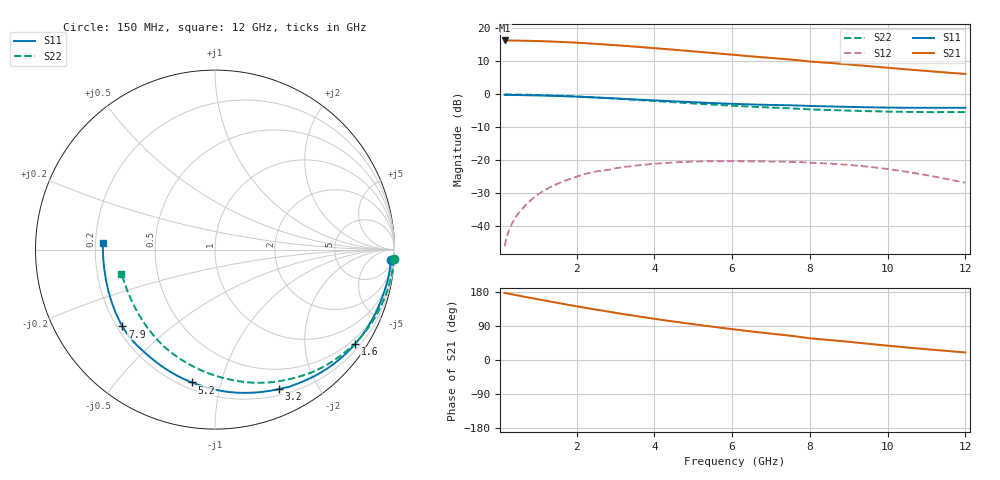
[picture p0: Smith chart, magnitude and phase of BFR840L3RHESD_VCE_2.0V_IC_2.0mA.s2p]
! Infineon Technologies  Discrete & RF Semiconductors
! BFR840L3RHESD
! VCE =  2.0 V,  IC =  2.0 mA
! Common Emitter S-Parameters:  Jun 2012
# GHz  S  MA  R  50
!  f  S11  S21  S12  S22
! GHz  MAG  ANG  MAG  ANG  MAG  ANG  MAG  ANG
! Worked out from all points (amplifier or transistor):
!   91 points, 150 MHz to 12 GHz, reference 50 ohm
!   highest |S21| = 16.3 dB at 150 MHz (marker M1)
!   |S21| within 3 dB of that: start of sweep to 4.685 GHz
!   unconditionally stable (mu >= 1): 10.1 GHz to end of sweep
!   at 1.3 GHz: K = 0.07, MSG = 22.2 dB, |S12| = -28.3 dB
!   at 4.3 GHz: K = 0.20, MSG = 17.3 dB, |S12| = -20.8 dB
!   at 12 GHz: K = 2.08, MAG = 10.6 dB, |S12| = -26.8 dB
!   S11 on the Smith chart (normalised r, x): 150 MHz: 10, -31; 1.6 GHz: 0.35, -3.24; 3.2 GHz: 0.26, -1.52; 5.2 GHz: 0.24, -0.81; 7.9 GHz: 0.22, -0.35; 12 GHz: 0.23, +0.03
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0.15  0.9812 -3.4  6.558 176.9  0.005 83.5  0.9975 -2.9
0.3  0.9806 -6.6  6.543 174.1  0.0098 83.5  0.9958 -5.9
0.6  0.9728 -13.1  6.505 168.1  0.0183 77.7  0.9897 -11.4
1.1  0.9591 -23.6  6.395 158.5  0.033 69.9  0.9736 -20.6
1.6  0.9413 -34.0  6.228 149.1  0.0463 63.0  0.9513 -29.7
2  0.9223 -42.3  6.064 141.7  0.0565 56.7  0.9282 -36.8
2.2  0.9119 -46.4  5.971 138.2  0.0615 53.5  0.9155 -40.2
2.6  0.8896 -54.1  5.763 131.3  0.069 47.4  0.8898 -47.0
3  0.8683 -61.8  5.571 124.5  0.0758 42.2  0.8625 -53.5
3.2  0.8544 -65.5  5.451 121.3  0.0787 39.1  0.8474 -56.8
3.7  0.8263 -74.6  5.178 113.3  0.0853 32.6  0.8129 -64.6
4.2  0.8005 -83.3  4.903 105.8  0.0904 26.4  0.7796 -72.1
4.7  0.7749 -91.7  4.635 98.7  0.0941 20.4  0.7469 -79.4
5.2  0.7511 -99.9  4.38 91.8  0.0962 14.5  0.7163 -86.4
6.1  0.716 -113.8  3.945 80.2  0.0969 5.1  0.669 -98.7
6.8  0.6952 -123.8  3.638 71.8  0.0962 -1.2  0.6387 -107.8
7.5  0.682 -133.6  3.369 64.0  0.0949 -7.3  0.6133 -116.6
7.9  0.6704 -140.3  3.191 58.7  0.0929 -11.9  0.5965 -122.6
8.5  0.656 -147.5  2.995 52.8  0.0893 -17.1  0.5793 -129.2
9.5  0.6369 -159.0  2.682 42.9  0.08 -26.2  0.5567 -140.2
10.5  0.6264 -169.9  2.389 33.0  0.0669 -34.6  0.5422 -151.1
12  0.6264 176.8  2.037 19.9  0.0457 -40.6  0.5389 -165.2
